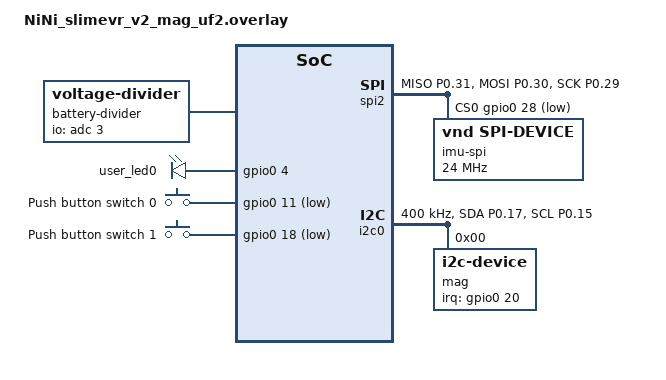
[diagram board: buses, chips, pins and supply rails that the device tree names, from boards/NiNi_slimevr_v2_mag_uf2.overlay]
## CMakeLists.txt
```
#
# Copyright (c) 2023 Nordic Semiconductor
#
# SPDX-License-Identifier: LicenseRef-Nordic-5-Clause
#
cmake_minimum_required(VERSION 3.20.0)

# Configure VERSION from repository tags, or a deterministic development fallback.
find_package(Git)

if(GIT_EXECUTABLE)
  execute_process(
    COMMAND ${GIT_EXECUTABLE} branch --show-current
    WORKING_DIRECTORY ${CMAKE_SOURCE_DIR}
    OUTPUT_VARIABLE GIT_BRANCH
    )
  execute_process(
    COMMAND ${GIT_EXECUTABLE} describe --dirty --tags --long --match [0-9]*.[0-9]*.[0-9]*
    WORKING_DIRECTORY ${CMAKE_SOURCE_DIR}
    OUTPUT_VARIABLE GIT_VERSION
    RESULT_VARIABLE GIT_VERSION_RESULT
    OUTPUT_STRIP_TRAILING_WHITESPACE
    ERROR_QUIET
    )
  # Prefer a https URL for display (falls back to ssh/origin.url)
  execute_process(
    COMMAND ${GIT_EXECUTABLE} config --get remote.origin.url
    WORKING_DIRECTORY ${CMAKE_SOURCE_DIR}
    OUTPUT_VARIABLE GIT_REPO_URL_SSH
    )
  execute_process(
    COMMAND ${GIT_EXECUTABLE} config --get remote.origin.https.url
    WORKING_DIRECTORY ${CMAKE_SOURCE_DIR}
    OUTPUT_VARIABLE GIT_REPO_URL_HTTPS
    )
  execute_process(
    COMMAND ${GIT_EXECUTABLE} log -1 --pretty=%an
    WORKING_DIRECTORY ${CMAKE_SOURCE_DIR}
    OUTPUT_VARIABLE GIT_AUTHOR
    )
endif()

if(GIT_BRANCH STREQUAL "")
  set(GIT_BRANCH unknown)
  message(WARNING "Unknown Git Branch")
endif()

# Choose URL: origin.https.url > origin.url
if(NOT GIT_REPO_URL_HTTPS STREQUAL "")
  set(GIT_REPO_URL ${GIT_REPO_URL_HTTPS})
else()
  set(GIT_REPO_URL ${GIT_REPO_URL_SSH})
endif()

# Normalize GitHub SSH URLs to HTTPS for display in firmware info
if(GIT_REPO_URL MATCHES "^git@github\\.com:(.+)$")
  set(GIT_REPO_URL "https://github.com/${CMAKE_MATCH_1}")
elseif(GIT_REPO_URL MATCHES "^ssh://git@github\\.com/(.+)$")
  set(GIT_REPO_URL "https://github.com/${CMAKE_MATCH_1}")
endif()
string(REGEX REPLACE "\\.git$" "" GIT_REPO_URL "${GIT_REPO_URL}")

if(GIT_REPO_URL STREQUAL "")
  set(GIT_REPO_URL unknown)
  message(WARNING "Unknown Git Repo URL")
endif()

if(GIT_AUTHOR STREQUAL "")
  set(GIT_AUTHOR unknown)
  message(WARNING "Unknown Git Author")
endif()

string(STRIP ${GIT_BRANCH} GIT_BRANCH)
string(STRIP ${GIT_REPO_URL} GIT_REPO_URL)
string(STRIP ${GIT_AUTHOR} GIT_AUTHOR)

if(GIT_VERSION_RESULT STREQUAL "0" AND
   GIT_VERSION MATCHES "^([0-9]+)\\.([0-9]+)\\.([0-9]+)-([0-9]+)-g[0-9a-f]+(-dirty)?$")
  set(GIT_MAJOR ${CMAKE_MATCH_1})
  set(GIT_MINOR ${CMAKE_MATCH_2})
  set(GIT_PATCH ${CMAKE_MATCH_3})
  set(GIT_TWEAK ${CMAKE_MATCH_4})
  configure_file(${CMAKE_SOURCE_DIR}/VERSION_SRC ${CMAKE_SOURCE_DIR}/VERSION @ONLY)
else()
  # VERSION is generated; never reuse stale release numbers from another branch.
  # Zephyr supplies commit provenance separately through APP_BUILD_VERSION.
  set(GIT_MAJOR 0)
  set(GIT_MINOR 0)
  set(GIT_PATCH 0)
  set(GIT_TWEAK 0)
  configure_file(${CMAKE_SOURCE_DIR}/VERSION_SRC ${CMAKE_SOURCE_DIR}/VERSION @ONLY)
  message(STATUS "No Git release version available; using development version 0.0.0")
endif()

# Pass metadata to C compilation units
add_compile_definitions(
  FW_GIT_BRANCH="${GIT_BRANCH}"
  FW_GIT_REPO_URL="${GIT_REPO_URL}"
  FW_GIT_AUTHOR="${GIT_AUTHOR}"
)

# Zephyr
find_package(Zephyr REQUIRED HINTS $ENV{ZEPHYR_BASE})
project(NONE)

find_package(Python3 QUIET COMPONENTS Interpreter)

if(NOT Python3_Interpreter_FOUND)
  find_program(PYTHON_EXECUTABLE NAMES python3 python REQUIRED)
  set(Python3_EXECUTABLE ${PYTHON_EXECUTABLE})
endif()

set(SOFTDEVICE_HEX_52840 ${CMAKE_SOURCE_DIR}/softdevice/s140_nrf52_7.3.0_softdevice.hex)
set(UF2_FAMILY_ID_52840 0xADA52840)

if(WITH_SOFTDEVICE)
  if(CONFIG_SOC_NRF52840)
    set(sd_softdevice_hex ${SOFTDEVICE_HEX_52840})
    set(sd_uf2_family_id ${UF2_FAMILY_ID_52840})
  else()
    message(FATAL_ERROR "WITH_SOFTDEVICE is currently only supported on nRF52840 targets")
  endif()

  if(DEFINED sd_softdevice_hex)
    if(NOT EXISTS ${sd_softdevice_hex})
      message(FATAL_ERROR "SoftDevice hex not found: ${sd_softdevice_hex}")
    endif()

    set(sd_merged_hex ${CMAKE_BINARY_DIR}/zephyr/zephyr_sd.hex)
    set(sd_merged_uf2 ${CMAKE_BINARY_DIR}/zephyr/zephyr_sd.uf2)

    add_custom_command(
      OUTPUT ${sd_merged_hex} ${sd_merged_uf2}
      COMMAND ${Python3_EXECUTABLE} ${ZEPHYR_BASE}/scripts/build/mergehex.py --overlap=replace -o ${sd_merged_hex} ${sd_softdevice_hex} ${CMAKE_BINARY_DIR}/zephyr/zephyr.hex
      COMMAND ${Python3_EXECUTABLE} ${ZEPHYR_BASE}/scripts/build/uf2conv.py ${sd_merged_hex} -c -f ${sd_uf2_family_id} -o ${sd_merged_uf2}
      DEPENDS ${sd_softdevice_hex} ${CMAKE_BINARY_DIR}/zephyr/zephyr.hex
      VERBATIM
    )

    add_custom_target(sd_merged_uf2 ALL DEPENDS ${sd_merged_hex} ${sd_merged_uf2})
  endif()
endif()

# NORDIC SDK APP START
FILE(GLOB_RECURSE app_sources src/*.c)
if(NOT CONFIG_CONNECTION_OVER_HID)
  list(FILTER app_sources EXCLUDE REGEX ".*/hid\\.c$")
endif()
if(NOT CONFIG_TDMA_DIAGNOSTICS)
  list(FILTER app_sources EXCLUDE REGEX ".*/radio_capture\\.c$")
endif()
if(NOT CONFIG_LED_DEBUG)
  list(FILTER app_sources EXCLUDE REGEX ".*/led_debug\\.c$")
endif()
if(NOT CONFIG_CUSTOMER_INFO OR NOT CONFIG_SOC_SERIES_NRF52)
  list(FILTER app_sources EXCLUDE REGEX ".*/customer_info(_parser)?\\.c$")
endif()
if(NOT CONFIG_CONNECTION_RAW_COLLECTION)
  list(FILTER app_sources EXCLUDE REGEX ".*/sensor/raw_collection\\.c$")
endif()
if(NOT CONFIG_SENSOR_USE_MAGNETOMETER)
  list(FILTER app_sources EXCLUDE REGEX ".*/sensor/scan_ext\\.c$")
  list(FILTER app_sources EXCLUDE REGEX ".*/sensor/calibration/(online_mag|mag_fit|magneto)\\.c$")
endif()
list(FILTER app_sources EXCLUDE REGEX ".*/sensor/imu/.*\\.c$")
list(FILTER app_sources EXCLUDE REGEX ".*/sensor/mag/.*\\.c$")
target_sources(app PRIVATE ${app_sources})

# IMU drivers
if(CONFIG_SENSOR_DRV_ICM42688)
  target_sources(app PRIVATE src/sensor/imu/ICM42688.c)
endif()
if(CONFIG_SENSOR_DRV_ICM42686)
  target_sources(app PRIVATE src/sensor/imu/ICM42686.c)
endif()
if(CONFIG_SENSOR_DRV_ICM45686)
  target_sources(app PRIVATE src/sensor/imu/ICM45686.c)
endif()
if(CONFIG_SENSOR_DRV_LSM6DSM)
  target_sources(app PRIVATE src/sensor/imu/LSM6DSM.c)
endif()
if(CONFIG_SENSOR_DRV_LSM6DSO)
  target_sources(app PRIVATE src/sensor/imu/LSM6DSO.c)
endif()
# LSM6DSM/DSO vtables call shared helpers defined in LSM6DSV.c (lsm_shutdown,
# lsm_accel_read, …). Compile that TU whenever any LSM6 family DRV is on, even
# if SENSOR_DRV_LSM6DSV=n — keep the Kconfig off so scan/vtable stay trimmed and
# SENSOR_IMU_DRV_COUNT is not inflated.
if(CONFIG_SENSOR_DRV_LSM6DSV OR CONFIG_SENSOR_DRV_LSM6DSM OR CONFIG_SENSOR_DRV_LSM6DSO)
  target_sources(app PRIVATE src/sensor/imu/LSM6DSV.c)
endif()

# Magnetometer drivers
if(CONFIG_SENSOR_USE_MAGNETOMETER)
if(CONFIG_SENSOR_DRV_AK09940)
  target_sources(app PRIVATE src/sensor/mag/AK09940.c)
endif()
if(CONFIG_SENSOR_DRV_BMM150)
  target_sources(app PRIVATE src/sensor/mag/BMM150.c)
endif()
if(CONFIG_SENSOR_DRV_BMM350)
  target_sources(app PRIVATE src/sensor/mag/BMM350.c)
endif()
if(CONFIG_SENSOR_DRV_ICT153XX)
  target_sources(app PRIVATE src/sensor/mag/ICT153xx.c)
endif()
if(CONFIG_SENSOR_DRV_IST8306 OR CONFIG_SENSOR_DRV_IST8308)
  target_sources(app PRIVATE src/sensor/mag/ist83xx.c)
endif()
if(CONFIG_SENSOR_DRV_IST8306)
  target_sources(app PRIVATE src/sensor/mag/IST8306.c)
endif()
if(CONFIG_SENSOR_DRV_IST8308)
  target_sources(app PRIVATE src/sensor/mag/IST8308.c)
endif()
if(CONFIG_SENSOR_DRV_LIS2MDL)
  target_sources(app PRIVATE src/sensor/mag/LIS2MDL.c)
endif()
if(CONFIG_SENSOR_DRV_LIS3MDL)
  target_sources(app PRIVATE src/sensor/mag/LIS3MDL.c)
endif()
if(CONFIG_SENSOR_DRV_MMC5603NJ)
  target_sources(app PRIVATE src/sensor/mag/MMC5603NJ.c)
endif()
if(CONFIG_SENSOR_DRV_MMC5983MA)
  target_sources(app PRIVATE src/sensor/mag/MMC5983MA.c)
endif()
if(CONFIG_SENSOR_DRV_QMC5883L)
  target_sources(app PRIVATE src/sensor/mag/QMC5883L.c)
endif()
if(CONFIG_SENSOR_DRV_QMC5883P)
  target_sources(app PRIVATE src/sensor/mag/QMC5883P.c)
endif()
if(CONFIG_SENSOR_DRV_QMC6309)
  target_sources(app PRIVATE src/sensor/mag/QMC6309.c)
endif()
endif()

set(_slimenrf_imu_drv_count 0)
foreach(_d ICM42688 ICM42686 ICM45686 LSM6DSM LSM6DSO LSM6DSV)
  if(CONFIG_SENSOR_DRV_${_d})
    math(EXPR _slimenrf_imu_drv_count "${_slimenrf_imu_drv_count}+1")
  endif()
endforeach()
if(_slimenrf_imu_drv_count EQUAL 0)
  message(FATAL_ERROR "No IMU SENSOR_DRV_* enabled. Enable at least one, or turn off SENSOR_IMU_DRIVERS_MINIMAL.")
endif()
# NORDIC SDK APP END

FILE(GLOB_RECURSE files vqf-c/src/*.c)
target_sources(app PRIVATE ${files})
set_property(
  SOURCE ${CMAKE_CURRENT_SOURCE_DIR}/vqf-c/src/vqf.c
  APPEND PROPERTY COMPILE_OPTIONS
  -Wno-double-promotion
)
if(CONFIG_SENSOR_VQF_ADAPTIVE_BIAS)
  target_compile_definitions(app PRIVATE VQF_ADAPTIVE_BIAS)
endif()
if(CONFIG_SENSOR_VQF_REST_TRANSITION)
  target_compile_definitions(app PRIVATE VQF_REST_TRANSITION)
endif()
if(CONFIG_SENSOR_VQF_FAST_REST_RECOVERY)
  target_compile_definitions(app PRIVATE VQF_FAST_REST_RECOVERY)
endif()
if(CONFIG_SENSOR_VQF_CYCLE_BIAS_OBSERVATION)
  target_compile_definitions(app PRIVATE VQF_CYCLE_BIAS_OBSERVATION)
endif()
if(CONFIG_SENSOR_VQF_OUTPUT_OBSERVER)
  target_compile_definitions(app PRIVATE VQF_OUTPUT_OBSERVER VQF_OUTPUT_TAU_ACC=3.264f)
endif()

target_include_directories(app PRIVATE src)
target_include_directories(app PRIVATE vqf-c/src)

# Force recompile for updated build timestamp
add_custom_target(touch_util_h ALL
    COMMAND ${CMAKE_COMMAND} -E touch ${CMAKE_SOURCE_DIR}/src/build_defines.h
)
```

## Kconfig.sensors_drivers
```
config SENSOR_IMU_DRIVERS_MINIMAL
	bool "Compile only selected IMU drivers"
	default n
	help
	  When disabled (default), every SENSOR_DRV_* IMU option defaults to y.
	  When enabled, each IMU SENSOR_DRV_* defaults to n; enable the BOM
	  drivers in the board *_defconfig.

config SENSOR_MAG_DRIVERS_MINIMAL
	bool "Compile only selected magnetometer drivers"
	default n
	help
	  Same as SENSOR_IMU_DRIVERS_MINIMAL but for magnetometer drivers.
	  Mag may be entirely disabled (mag-less boards).

menu "IMU drivers"

config SENSOR_DRV_ICM42688
	bool "ICM42688"
	default y if !SENSOR_IMU_DRIVERS_MINIMAL
	default n

config SENSOR_DRV_ICM42686
	bool "ICM42686"
	default y if !SENSOR_IMU_DRIVERS_MINIMAL
	default n

config SENSOR_DRV_ICM45686
	bool "ICM45686 / ICM45688"
	default y if !SENSOR_IMU_DRIVERS_MINIMAL
	default n

config SENSOR_DRV_LSM6DSM
	bool "LSM6DSM family (DS3 / DSM)"
	default y if !SENSOR_IMU_DRIVERS_MINIMAL
	default n
	help
	  Shares helpers compiled from LSM6DSV.c (CMake pulls that TU in
	  automatically). Enabling this alone does not enable SENSOR_DRV_LSM6DSV
	  scan/vtable slots.

config SENSOR_DRV_LSM6DSO
	bool "LSM6DSO family (DSR / DSO)"
	default y if !SENSOR_IMU_DRIVERS_MINIMAL
	default n
	help
	  Shares helpers compiled from LSM6DSV.c (CMake pulls that TU in
	  automatically). Enabling this alone does not enable SENSOR_DRV_LSM6DSV
	  scan/vtable slots.

config SENSOR_DRV_LSM6DSV
	bool "LSM6DSV family (DSV / ISM330BX)"
	default y if !SENSOR_IMU_DRIVERS_MINIMAL
	default n
	help
	  Also provides shared LSM6 helpers used by LSM6DSM / LSM6DSO drivers.

endmenu

menu "Magnetometer drivers"

config SENSOR_DRV_AK09940
	bool "AK09940"
	default y if !SENSOR_MAG_DRIVERS_MINIMAL
	default n

config SENSOR_DRV_BMM150
	bool "BMM150"
	default y if !SENSOR_MAG_DRIVERS_MINIMAL
	default n

config SENSOR_DRV_BMM350
	bool "BMM350"
	default y if !SENSOR_MAG_DRIVERS_MINIMAL
	default n

config SENSOR_DRV_ICT153XX
	bool "ICT-15312 / ICT-15318"
	default y if !SENSOR_MAG_DRIVERS_MINIMAL
	default n
	help
	  I2C magnetometers, including access through an IMU external I2C proxy.
	  Both require VDD 1.62–1.98 V; ICT-15312 uses 1.2 V bus logic and
	  ICT-15318 uses 1.8 V bus logic.

config SENSOR_DRV_IST8306
	bool "IST8306"
	default y if !SENSOR_MAG_DRIVERS_MINIMAL
	default n

config SENSOR_DRV_IST8308
	bool "IST8308"
	default y if !SENSOR_MAG_DRIVERS_MINIMAL
	default n

config SENSOR_DRV_LIS2MDL
	bool "LIS2MDL / IIS2MDC"
	default y if !SENSOR_MAG_DRIVERS_MINIMAL
	default n

config SENSOR_DRV_LIS3MDL
	bool "LIS3MDL"
	default y if !SENSOR_MAG_DRIVERS_MINIMAL
	default n

config SENSOR_DRV_MMC5603NJ
	bool "MMC5603NJ"
	default y if !SENSOR_MAG_DRIVERS_MINIMAL
	default n

config SENSOR_DRV_MMC5983MA
	bool "MMC5983MA"
	default y if !SENSOR_MAG_DRIVERS_MINIMAL
	default n

config SENSOR_DRV_QMC5883L
	bool "QMC5883L"
	default y if !SENSOR_MAG_DRIVERS_MINIMAL
	default n

config SENSOR_DRV_QMC5883P
	bool "QMC5883P"
	default y if !SENSOR_MAG_DRIVERS_MINIMAL
	default n
	help
	  QMC5883P (QST-PD-B002-22 Rev E): automotive-grade line, new-style QST
	  register interface (akin to QMC6309, NOT register-compatible with
	  QMC5883L). I2C 0x2C, CHIPID 0x80 @ 0x00, 2/8/12/30G ranges, no temp.

config SENSOR_DRV_QMC6309
	bool "QMC6309"
	default y if !SENSOR_MAG_DRIVERS_MINIMAL
	default n

endmenu
```

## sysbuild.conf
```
SB_CONFIG_BOOTLOADER_MCUBOOT=y

# ============================================================
# MCUboot UART DFU Configuration
# ============================================================
# Using UART DFU instead of USB to avoid USB device stack dependencies
# This file is for NCS 2.7.0+ sysbuild system

# ============================================================
# Basic kernel configuration for MCUboot
# ============================================================
CONFIG_MULTITHREADING=y
CONFIG_USERSPACE=n

# Serial/UART support (required for UART DFU)
# Note: CONFIG_UART doesn't exist, use CONFIG_SERIAL instead
# SERIAL_HAS_DRIVER and SERIAL_SUPPORT_INTERRUPT are internal symbols, don't set them
CONFIG_SERIAL=y
CONFIG_UART_INTERRUPT_DRIVEN=y

# Logging support for debugging (using RTT instead of UART)
# This helps diagnose why MCUboot is not booting the application
CONFIG_LOG=y
CONFIG_LOG_MODE_IMMEDIATE=y
CONFIG_USE_SEGGER_RTT=y
CONFIG_LOG_BACKEND_RTT=y
CONFIG_UART_CONSOLE=n

# Console support (disabled - using RTT for logging instead)
# CONFIG_CONSOLE=y

# MCUboot serial recovery over UART
# BOOT_SERIAL_UART is a choice symbol, let MCUboot handle it
# Just ensure serial recovery is enabled

# ============================================================
# Library configuration
# ============================================================
CONFIG_MINIMAL_LIBC=y

# Main thread and heap configuration
CONFIG_MAIN_STACK_SIZE=1536
CONFIG_HEAP_MEM_POOL_SIZE=512
CONFIG_ISR_STACK_SIZE=1536

# ============================================================
# USB Configuration - DISABLED in MCUboot
# ============================================================
# CRITICAL: Disable USB device stack to avoid linker errors
# Use explicit "is not set" syntax for maximum priority
# CONFIG_USB_DEVICE_STACK is not set
# CONFIG_USB_CDC_ACM is not set
# CONFIG_USB_MASS_STORAGE is not set
# CONFIG_USB_DEVICE_DRIVER is not set
# CONFIG_BOOT_SERIAL_CDC_ACM is not set

# MCUboot configuration file should be automatically found at child_image/mcuboot/prj.conf
# If not automatically found, sysbuild may need to be configured differently
# The variable name MCUBOOT_CONFIG_FILE is not valid - removing explicit path

# MCUboot DTS overlay should be automatically found in boards/sysbuild/mcuboot.overlay
# If needed, uncomment and adjust path:
# SB_CONFIG_MCUBOOT_DTS_OVERLAY_FILE="boards/sysbuild/mcuboot.overlay"
```

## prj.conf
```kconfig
#CONFIG_NCS_SAMPLES_DEFAULTS
CONFIG_ASSERT=y
CONFIG_ASSERT_NO_COND_INFO=y
CONFIG_ASSERT_NO_MSG_INFO=y
CONFIG_RESET_ON_FATAL_ERROR=y

CONFIG_NCS_APPLICATION_BOOT_BANNER_STRING="SlimeVR-Tracker-nRF"
#CONFIG_NCS_BOOT_BANNER=n
CONFIG_BOOT_BANNER=n

CONFIG_LTO=y
CONFIG_ISR_TABLES_LOCAL_DECLARATION=y

CONFIG_ESB=y
#need to enable for nRF54L
#CONFIG_NRFX_DPPI10=y

CONFIG_ADC=y
CONFIG_ADC_NRFX_SAADC=y
CONFIG_FPU=y

# CMSIS-DSP Configuration for VQF optimization
CONFIG_CMSIS_DSP=y
CONFIG_CMSIS_DSP_FASTMATH=y
CONFIG_CMSIS_DSP_BASICMATH=y
CONFIG_CMSIS_DSP_MATRIX=y
CONFIG_CMSIS_DSP_QUATERNIONMATH=y
CONFIG_CMSIS_DSP_SUPPORT=y
CONFIG_CMSIS_DSP_CONTROLLER=y
CONFIG_DSP=y

CONFIG_I2C=y
CONFIG_SPI=y
CONFIG_PINCTRL=y

CONFIG_NVS=y
CONFIG_NVS_LOOKUP_CACHE=y
#CONFIG_NVS_INIT_BAD_MEMORY_REGION=y

CONFIG_POWEROFF=y
CONFIG_REBOOT=y

CONFIG_FLASH=y
CONFIG_FLASH_PAGE_LAYOUT=y
CONFIG_FLASH_MAP=y
CONFIG_USE_DT_CODE_PARTITION=y

CONFIG_SETTINGS=y
CONFIG_SETTINGS_RUNTIME=y
CONFIG_SETTINGS_NONE=y

CONFIG_MPU_ALLOW_FLASH_WRITE=y

CONFIG_RETAINED_MEM=y

# ============================================================
# RTT Logging Configuration (for debugging early boot crashes)
# ============================================================
# Use IMMEDIATE mode to capture logs before early fatal/reboot
CONFIG_USE_SEGGER_RTT=y
CONFIG_LOG=y
CONFIG_LOG_MODE_IMMEDIATE=y
CONFIG_LOG_BACKEND_RTT=y
CONFIG_PRINTK=y

# Console configuration - RTT_CONSOLE is a choice symbol, enable via console subsystem
CONFIG_CONSOLE=y
CONFIG_CONSOLE_SUBSYS=y
# RTT will be automatically selected as console backend when CONFIG_USE_SEGGER_RTT=y

# Disable UART console (use RTT instead)
CONFIG_UART_CONSOLE=n
CONFIG_LOG_BACKEND_UART_AUTOSTART=n

# Log processing thread configuration (not needed in IMMEDIATE mode, but keep for compatibility)
CONFIG_LOG_SPEED=y
CONFIG_CBPRINTF_FP_SUPPORT=y
CONFIG_LOG_FUNC_NAME_PREFIX_ERR=y
CONFIG_LOG_BUFFER_SIZE=4096
CONFIG_ADC_LOG_LEVEL_OFF=y
CONFIG_LOG_PROCESS_THREAD_SLEEP_MS=50
CONFIG_LOG_PROCESS_THREAD_STACK_SIZE=1024

CONFIG_PWM=y
CONFIG_GPIO=y

CONFIG_CRC=y

# Sensor lifecycle waits (suspend / scan) use k_event instead of busy spins
CONFIG_EVENTS=y

CONFIG_NEWLIB_LIBC=y
# CONFIG_NRFX_TIMER1=y

#speed up boot? (use internal rc oscillator)
CONFIG_CLOCK_CONTROL_NRF_K32SRC_RC=y
CONFIG_CLOCK_CONTROL_NRF_K32SRC_20PPM=y

# dont need it
CONFIG_CRYPTO=n

# set timeout for 25ms, sufficient for ~1000 bytes
CONFIG_I2C_NRFX_TRANSFER_TIMEOUT=25

CONFIG_USB_DEVICE_STACK_NEXT=y
CONFIG_USBD_CDC_ACM_CLASS=y
CONFIG_CDC_ACM_SERIAL_INITIALIZE_AT_BOOT=n
CONFIG_SLIMEVR_USB_DEVICE_VID=0x1209
CONFIG_SLIMEVR_USB_DEVICE_PID=0x7692
CONFIG_UART_INTERRUPT_DRIVEN=y

CONFIG_SERIAL=y
CONFIG_CONSOLE=y
CONFIG_RTT_CONSOLE=y
CONFIG_UART_CONSOLE=y
CONFIG_UART_LINE_CTRL=y

CONFIG_LOG=y
CONFIG_USBD_LOG_LEVEL_ERR=y
CONFIG_UDC_DRIVER_LOG_LEVEL_ERR=y
CONFIG_USBD_CDC_ACM_LOG_LEVEL_OFF=y

CONFIG_LOG_BACKEND_UART=y

CONFIG_CONSOLE_SUBSYS=y

CONFIG_NVS_LOG_LEVEL_WRN=y

CONFIG_SYSTEM_WORKQUEUE_STACK_SIZE=1024
CONFIG_MAIN_STACK_SIZE=2048

CONFIG_THREAD_NAME=y

CONFIG_HEAP_MEM_POOL_SIZE=4096
CONFIG_ISR_STACK_SIZE=2048
CONFIG_UDC_BUF_POOL_SIZE=4096

CONFIG_PM_DEVICE=y


CONFIG_USE_ACTIVE_TIMEOUT=y

# 100ms switch delay will be obvious to users, so we choose not to use it by default,
# but it can be enabled for testing or specific use cases
CONFIG_SENSOR_USE_LOW_POWER_2=n

# control low power mode
# due to current mag reading is process in sensor loop,
# low power mode will cause mag reading isn't at target odr,
# so currently it should be disabled by default
CONFIG_USE_IMU_TIMEOUT=n
# a very large low power timeout (1h) to prevent it from triggering
CONFIG_SENSOR_LP_TIMEOUT=3600000

# 10 minutes timeout with wake on motion
CONFIG_ACTIVE_TIMEOUT_DELAY=600000

# dynamic low-activity sleep timeout is 90 seconds, repeat wake timeout is 90 seconds by default
CONFIG_ACTIVE_TIMEOUT_IDLE_WAKE_DELAY=90000
CONFIG_DYNAMIC_ACTIVE_TIMEOUT=y
CONFIG_USE_IMU_WAKE_UP=y

# or 6 hours timeout
# CONFIG_USE_IMU_WAKE_UP=n
# CONFIG_ACTIVE_TIMEOUT_DELAY=21600000

CONFIG_USER_EXTRA_ACTIONS=y
CONFIG_DISABLE_SENSOR_GPIOS_ON_SHUTDOWN=y

CONFIG_ESB_MAX_PAYLOAD_LENGTH=72
CONFIG_ESB_TX_FIFO_SIZE=8
CONFIG_ESB_RX_FIFO_SIZE=8
CONFIG_RADIO_RF_CHANNEL=84
CONFIG_RADIO_RETRANSMIT_DELAY=310
CONFIG_CONNECTION_ENABLE_ACK=n
CONFIG_RADIO_TX_POWER=8
# 1 minutes timeout after ping continuous failed
CONFIG_CONNECTION_TIMEOUT_DELAY=60000

CONFIG_SENSOR_USE_6_SIDE_CALIBRATION=y
CONFIG_SENSOR_USE_SENS_CALIBRATION=y
CONFIG_SENSOR_SENS_REV=5

CONFIG_SENSOR_USE_TCAL=y

# Boot calibration is disabled by default
# CONFIG_SENSOR_USE_BOOT_CALIBRATION=y

# Range statistics tracking (disabled by default to optimize performance)
# CONFIG_SENSOR_RANGE_STATS=y

# Gyro/accel ODR. Gyro OVERSAMPLING = Δq INT_merge factor.
# Example: GYRO_ODR=1600 + GYRO_OVERSAMPLING=4 → 400 Hz fusion gyro steps.
# icm45 ~1600, dsv ~1920
CONFIG_SENSOR_GYRO_ODR=400
# fusion rate at ~400Hz
CONFIG_SENSOR_GYRO_OVERSAMPLING=1
CONFIG_SENSOR_MAG_ODR=100

# VQF experimental features
# CONFIG_VQF_ADAPTIVE_TAU_ACC=y

# Watchdog Configuration
CONFIG_WATCHDOG=y
CONFIG_WDT_NRFX=y
CONFIG_TASK_WDT=y
CONFIG_TASK_WDT_CHANNELS=9
CONFIG_TASK_WDT_HW_FALLBACK=y
CONFIG_TASK_WDT_HW_FALLBACK_DELAY=5000

# enable tdma on board which don't have lfxo, it can use lf clock synthesized by hf clock,
# but it will increase a lot of power consumption, so if you want to use it, you can enable below config,
# or define it in board level Kconfig file.

# CONFIG_CLOCK_USE_LFXO=n
CONFIG_CONNECTION_TDMA=y

# Enable VQF benchmark mode for performance testing (disabled by default)
# CONFIG_VQF_BENCH=y
```

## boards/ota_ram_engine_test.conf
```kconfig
CONFIG_ESB_OTA_FORCE_RAM_ENGINE=y
```

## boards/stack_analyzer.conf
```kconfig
# On-demand stack high-water diagnostics
CONFIG_THREAD_ANALYZER=y
CONFIG_THREAD_ANALYZER_USE_PRINTK=y
CONFIG_THREAD_ANALYZER_RUN_UNLOCKED=y
CONFIG_THREAD_ANALYZER_ISR_STACK_USAGE=y
CONFIG_THREAD_ANALYZER_AUTO=n
CONFIG_INIT_STACKS=y
```

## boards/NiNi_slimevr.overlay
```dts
#include <zephyr/dt-bindings/gpio/gpio.h>
#include <zephyr/dt-bindings/pinctrl/nrf-pinctrl.h>

/ {
	battery-divider {
		compatible = "voltage-divider";
		status = "okay";
		io-channels = <&adc 3>;
		output-ohms = <40200>;
		full-ohms = <140200>;
	};

	leds {
		compatible = "gpio-leds";
		user_led0: led_0 {
			gpios = <&gpio0 4 GPIO_ACTIVE_HIGH>;
		};
	};

	buttons {
		compatible = "gpio-keys";
		button0: button_0 {
			gpios = <&gpio0 11 (GPIO_PULL_UP | GPIO_ACTIVE_LOW)>;
			label = "Push button switch 0";
		};
	};

		
	

	aliases {
		sw0 = &button0;
		led0 = &user_led0;
		imu0 = &imu_spi;
	};
};

&pinctrl {
	spi3_default: spi3_default {
		group1 {
			psels = <NRF_PSEL(SPIM_MISO, 0, 29)>,
				<NRF_PSEL(SPIM_MOSI, 0, 28)>,
				<NRF_PSEL(SPIM_SCK,  0, 2)>;
			bias-disable;
		};
	};

	spi3_sleep: spi3_sleep {
		group1 {
			psels = <NRF_PSEL(SPIM_MISO, 0, 29)>,
				<NRF_PSEL(SPIM_MOSI, 0, 28)>,
				<NRF_PSEL(SPIM_SCK,  0, 2)>;
			low-power-enable;
		};
	};
};

&spi3 {
	status = "okay";
	compatible = "nordic,nrf-spim";
	pinctrl-0 = <&spi3_default>;
	pinctrl-1 = <&spi3_sleep>;
	pinctrl-names = "default", "sleep";

	cs-gpios = <&gpio0 3 GPIO_ACTIVE_LOW>;

	imu_spi: imu@0 {
		compatible = "vnd,spi-device";
		reg = <0>;
		label = "imu-spi";
		spi-max-frequency = <DT_FREQ_M(24)>;
	};
};
&flash0 {
  partitions {
    compatible = "fixed-partitions";
    #address-cells = <1>;
    #size-cells = <1>;

    mcuboot_partition: partition@0 {
      label = "mcuboot";
      reg = <0x00000000 0x00010000>;
    };

    slot0_partition: partition@10000 {
      label = "image-0";
      reg = <0x00010000 0x00070000>;
    };
  };
};

/ {
  chosen {
    zephyr,flash = &flash0;
    zephyr,code-partition = &slot0_partition;
  };
};
```

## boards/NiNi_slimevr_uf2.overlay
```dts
/ {
	battery-divider {
		compatible = "voltage-divider";
		status = "okay";
		io-channels = <&adc 3>;
		output-ohms = <40200>;
		full-ohms = <(100000 + 40200)>;
	};

	leds {
		compatible = "gpio-leds";
		user_led0: led_0 {
			gpios = <&gpio0 4 GPIO_OPEN_SOURCE>;
		};
	};

	buttons {
		compatible = "gpio-keys";
		button0: button_0 {
			gpios = <&gpio0 11 (GPIO_PULL_UP | GPIO_ACTIVE_LOW)>;
			label = "Push button switch 0";
		};
		button1: button_1 {
			gpios = <&gpio0 18 (GPIO_PULL_UP | GPIO_ACTIVE_LOW)>;
			label = "Push button switch 1";
		};
	};

	aliases {
		sw0 = &button0;
		sw1 = &button1;
		led0 = &user_led0;
		imu0 = &imu_spi;
	};
};

&pinctrl {
	spi2_default: spi2_default {
		group1 {
			psels = <NRF_PSEL(SPIM_MISO, 0, 29)>,
				<NRF_PSEL(SPIM_MOSI, 0, 28)>,
				<NRF_PSEL(SPIM_SCK,  0, 2)>;
			bias-disable;
		};
	};

	spi2_sleep: spi2_sleep {
		group1 {
			psels = <NRF_PSEL(SPIM_MISO, 0, 29)>,
				<NRF_PSEL(SPIM_MOSI, 0, 28)>,
				<NRF_PSEL(SPIM_SCK,  0, 2)>;
			low-power-enable;
		};
	};
};

&spi2 {
	status = "okay";
	compatible = "nordic,nrf-spim";
	pinctrl-0 = <&spi2_default>;
	pinctrl-1 = <&spi2_sleep>;
	pinctrl-names = "default", "sleep";

	cs-gpios = <&gpio0 3 GPIO_ACTIVE_LOW>;

	imu_spi: imu@0 {
		compatible = "vnd,spi-device";
		reg = <0>;
		label = "imu-spi";
		spi-max-frequency = <DT_FREQ_M(24)>;
	};
};
```

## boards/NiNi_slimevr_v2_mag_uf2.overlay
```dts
/ {
	battery-divider {
		compatible = "voltage-divider";
		status = "okay";
		io-channels = <&adc 3>;
		output-ohms = <40200>;
		full-ohms = <(100000 + 40200)>;
	};

	leds {
		compatible = "gpio-leds";
		user_led0: led_0 {
			gpios = <&gpio0 4 GPIO_OPEN_SOURCE>;
		};
	};

	buttons {
		compatible = "gpio-keys";
		button0: button_0 {
			gpios = <&gpio0 11 (GPIO_PULL_UP | GPIO_ACTIVE_LOW)>;
			label = "Push button switch 0";
		};
		button1: button_1 {
			gpios = <&gpio0 18 (GPIO_PULL_UP | GPIO_ACTIVE_LOW)>;
			label = "Push button switch 1";
		};
	};

	aliases {
		sw0 = &button0;
		sw1 = &button1;
		led0 = &user_led0;
		imu0 = &imu_spi;
	};
};

&pinctrl {
	spi2_default: spi2_default {
		group1 {
			psels = <NRF_PSEL(SPIM_MISO, 0, 31)>,
				<NRF_PSEL(SPIM_MOSI, 0, 30)>,
				<NRF_PSEL(SPIM_SCK,  0, 29)>;
			bias-disable;
		};
	};

	spi2_sleep: spi2_sleep {
		group1 {
			psels = <NRF_PSEL(SPIM_MISO, 0, 31)>,
				<NRF_PSEL(SPIM_MOSI, 0, 30)>,
				<NRF_PSEL(SPIM_SCK,  0, 29)>;
			low-power-enable;
		};
	};

	i2c0_default: i2c0_default {
		group1 {
			psels = <NRF_PSEL(TWIM_SDA, 0, 17)>,
				<NRF_PSEL(TWIM_SCL, 0, 15)>;
			bias-disable;
		};
	};

	i2c0_sleep: i2c0_sleep {
		group1 {
			psels = <NRF_PSEL(TWIM_SDA, 0, 17)>,
				<NRF_PSEL(TWIM_SCL, 0, 15)>;
			low-power-enable;
		};
	};
};

&spi2 {
	status = "okay";
	compatible = "nordic,nrf-spim";
	pinctrl-0 = <&spi2_default>;
	pinctrl-1 = <&spi2_sleep>;
	pinctrl-names = "default", "sleep";

	cs-gpios = <&gpio0 28 GPIO_ACTIVE_LOW>;

	imu_spi: imu@0 {
		compatible = "vnd,spi-device";
		reg = <0>;
		label = "imu-spi";
		spi-max-frequency = <DT_FREQ_M(24)>;
	};
};

&i2c0 {
	compatible = "nordic,nrf-twim";
	status = "okay";
	zephyr,concat-buf-size = <1023>;
	zephyr,flash-buf-max-size = <1023>;
	clock-frequency = <I2C_BITRATE_FAST>;
	pinctrl-0 = <&i2c0_default>;
	pinctrl-1 = <&i2c0_sleep>;
	pinctrl-names = "default", "sleep";

	mag: mag@0 {
		compatible = "i2c-device";
		label = "mag";
		reg = <0>;
		irq-gpios = <&gpio0 20 GPIO_ACTIVE_HIGH>;
	};
};
```

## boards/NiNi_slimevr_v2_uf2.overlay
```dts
/ {
	battery-divider {
		compatible = "voltage-divider";
		status = "okay";
		io-channels = <&adc 3>;
		output-ohms = <40200>;
		full-ohms = <(100000 + 40200)>;
	};

	leds {
		compatible = "gpio-leds";
		user_led0: led_0 {
			gpios = <&gpio0 4 GPIO_OPEN_SOURCE>;
		};
	};

	buttons {
		compatible = "gpio-keys";
		button0: button_0 {
			gpios = <&gpio0 11 (GPIO_PULL_UP | GPIO_ACTIVE_LOW)>;
			label = "Push button switch 0";
		};
		button1: button_1 {
			gpios = <&gpio0 18 (GPIO_PULL_UP | GPIO_ACTIVE_LOW)>;
			label = "Push button switch 1";
		};
	};

	aliases {
		sw0 = &button0;
		sw1 = &button1;
		led0 = &user_led0;
		imu0 = &imu_spi;
	};
};

&pinctrl {
	spi2_default: spi2_default {
		group1 {
			psels = <NRF_PSEL(SPIM_MISO, 0, 31)>,
				<NRF_PSEL(SPIM_MOSI, 0, 30)>,
				<NRF_PSEL(SPIM_SCK,  0, 29)>;
			bias-disable;
		};
	};

	spi2_sleep: spi2_sleep {
		group1 {
			psels = <NRF_PSEL(SPIM_MISO, 0, 31)>,
				<NRF_PSEL(SPIM_MOSI, 0, 30)>,
				<NRF_PSEL(SPIM_SCK,  0, 29)>;
			low-power-enable;
		};
	};
};

&spi2 {
	status = "okay";
	compatible = "nordic,nrf-spim";
	pinctrl-0 = <&spi2_default>;
	pinctrl-1 = <&spi2_sleep>;
	pinctrl-names = "default", "sleep";

	cs-gpios = <&gpio0 28 GPIO_ACTIVE_LOW>;

	imu_spi: imu@0 {
		compatible = "vnd,spi-device";
		reg = <0>;
		label = "imu-spi";
		spi-max-frequency = <DT_FREQ_M(24)>;
	};
};
```

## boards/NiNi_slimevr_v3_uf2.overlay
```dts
/ {
	leds {
		compatible = "gpio-leds";
		user_led0: led_0 {
			gpios = <&gpio0 4 GPIO_OPEN_SOURCE>;
		};
	};

	buttons {
		compatible = "gpio-keys";
		button0: button_0 {
			gpios = <&gpio0 11 (GPIO_PULL_UP | GPIO_ACTIVE_LOW)>;
			label = "Push button switch 0";
		};
		button1: button_1 {
			gpios = <&gpio0 18 (GPIO_PULL_UP | GPIO_ACTIVE_LOW)>;
			label = "Push button switch 1";
		};
	};

	pwmclock: pwmclock {
		compatible = "pwm-clock";
		#clock-cells = <1>;
		pwms = <&pwm1 0 PWM_HZ(32768) PWM_POLARITY_NORMAL>;
	};

	aliases {
		sw0 = &button0;
		sw1 = &button1;
		led0 = &user_led0;
		imu0 = &imu_spi;
	};
};

&pinctrl {
	spi2_default: spi2_default {
		group1 {
			psels = <NRF_PSEL(SPIM_MISO, 0, 31)>,
				<NRF_PSEL(SPIM_MOSI, 0, 30)>,
				<NRF_PSEL(SPIM_SCK,  0, 29)>;
			bias-disable;
		};
	};

	spi2_sleep: spi2_sleep {
		group1 {
			psels = <NRF_PSEL(SPIM_MISO, 0, 31)>,
				<NRF_PSEL(SPIM_MOSI, 0, 30)>,
				<NRF_PSEL(SPIM_SCK,  0, 29)>;
			low-power-enable;
		};
	};
};

&spi2 {
	status = "okay";
	compatible = "nordic,nrf-spim";
	pinctrl-0 = <&spi2_default>;
	pinctrl-1 = <&spi2_sleep>;
	pinctrl-names = "default", "sleep";

	cs-gpios = <&gpio0 28 GPIO_ACTIVE_LOW>;

	imu_spi: imu@0 {
		compatible = "vnd,spi-device";
		reg = <0>;
		label = "imu-spi";
		spi-max-frequency = <DT_FREQ_M(24)>;
	};
};
```

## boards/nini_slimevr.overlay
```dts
#include <zephyr/dt-bindings/gpio/gpio.h>
#include <zephyr/dt-bindings/pinctrl/nrf-pinctrl.h>

/ {
	battery-divider {
		compatible = "voltage-divider";
		status = "okay";
		io-channels = <&adc 3>;
		output-ohms = <40200>;
		full-ohms = <140200>;
	};

	leds {
		compatible = "gpio-leds";
		user_led0: led_0 {
			gpios = <&gpio0 4 GPIO_ACTIVE_HIGH>;
		};
	};

	buttons {
		compatible = "gpio-keys";
		button0: button_0 {
			gpios = <&gpio0 11 (GPIO_PULL_UP | GPIO_ACTIVE_LOW)>;
			label = "Push button switch 0";
		};
		button1: button_1 {
			gpios = <&gpio0 18 (GPIO_PULL_UP | GPIO_ACTIVE_LOW)>;
			label = "Push button switch 1";
		};
	};

		
	

	aliases {
		sw0 = &button0;
		sw1 = &button1;
		led0 = &user_led0;
		imu0 = &imu_spi;
	};
};

&pinctrl {
	spi3_default: spi3_default {
		group1 {
			psels = <NRF_PSEL(SPIM_MISO, 0, 29)>,
				<NRF_PSEL(SPIM_MOSI, 0, 28)>,
				<NRF_PSEL(SPIM_SCK,  0, 2)>;
			bias-disable;
		};
	};

	spi3_sleep: spi3_sleep {
		group1 {
			psels = <NRF_PSEL(SPIM_MISO, 0, 29)>,
				<NRF_PSEL(SPIM_MOSI, 0, 28)>,
				<NRF_PSEL(SPIM_SCK,  0, 2)>;
			low-power-enable;
		};
	};
};

&spi3 {
	status = "okay";
	compatible = "nordic,nrf-spim";
	pinctrl-0 = <&spi3_default>;
	pinctrl-1 = <&spi3_sleep>;
	pinctrl-names = "default", "sleep";

	cs-gpios = <&gpio0 3 GPIO_ACTIVE_LOW>;

	imu_spi: imu@0 {
		compatible = "vnd,spi-device";
		reg = <0>;
		label = "imu-spi";
		spi-max-frequency = <DT_FREQ_M(24)>;
	};
};
```

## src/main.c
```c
/*
	SlimeVR Code is placed under the MIT license
	Copyright (c) 2025 SlimeVR Contributors

	Permission is hereby granted, free of charge, to any person obtaining a copy
	of this software and associated documentation files (the "Software"), to deal
	in the Software without restriction, including without limitation the rights
	to use, copy, modify, merge, publish, distribute, sublicense, and/or sell
	copies of the Software, and to permit persons to whom the Software is
	furnished to do so, subject to the following conditions:

	The above copyright notice and this permission notice shall be included in
	all copies or substantial portions of the Software.

	THE SOFTWARE IS PROVIDED "AS IS", WITHOUT WARRANTY OF ANY KIND, EXPRESS OR
	IMPLIED, INCLUDING BUT NOT LIMITED TO THE WARRANTIES OF MERCHANTABILITY,
	FITNESS FOR A PARTICULAR PURPOSE AND NONINFRINGEMENT. IN NO EVENT SHALL THE
	AUTHORS OR COPYRIGHT HOLDERS BE LIABLE FOR ANY CLAIM, DAMAGES OR OTHER
	LIABILITY, WHETHER IN AN ACTION OF CONTRACT, TORT OR OTHERWISE, ARISING FROM,
	OUT OF OR IN CONNECTION WITH THE SOFTWARE OR THE USE OR OTHER DEALINGS IN
	THE SOFTWARE.
*/
#include "globals.h"
#include "system/system.h"
#include "system/uptime.h"
// #include "timer.h"
#include "connection/esb.h"
#include "sensor/sensor.h"

#include <zephyr/sys/reboot.h>
#include <zephyr/dt-bindings/gpio/gpio.h>
#include <hal/nrf_gpio.h>
#define ZEPHYR_USER_NODE DT_PATH(zephyr_user)
#if !DT_NODE_HAS_PROP(ZEPHYR_USER_NODE, pwr_gpios) && CONFIG_BOARD_PROMICRO_UF2
#warning "IMU power pins not defined: do not stack IMU on PROMICRO"
#endif
#if !DT_NODE_HAS_PROP(ZEPHYR_USER_NODE, gnd_gpios) && CONFIG_BOARD_PROMICRO_UF2
#warning "IMU gnd pins not defined: do not stack IMU on PROMICRO"
#endif

LOG_MODULE_REGISTER(main, LOG_LEVEL_INF);

#if DT_NODE_HAS_PROP(DT_ALIAS(sw0), gpios)
#define BUTTON_EXISTS true
#endif

#define ADAFRUIT_BOOTLOADER (CONFIG_BUILD_OUTPUT_UF2 && !CONFIG_BOOTLOADER_MCUBOOT)

#if DT_NODE_HAS_PROP(ZEPHYR_USER_NODE, pwr_gpios)
static nrf_gpio_pin_drive_t gpio_drive_from_dt_flags(uint32_t flags)
{
	if (flags & GPIO_OPEN_DRAIN) {
		return NRF_GPIO_PIN_S0D1;
	}
	if (flags & GPIO_OPEN_SOURCE) {
		return NRF_GPIO_PIN_D0S1;
	}
	return NRF_GPIO_PIN_S0S1;
}
#endif

int main(void)
{
#if DT_NODE_HAS_PROP(ZEPHYR_USER_NODE, gnd_gpios)
	uint32_t gnd_psel = NRF_DT_GPIOS_TO_PSEL(ZEPHYR_USER_NODE, gnd_gpios);
	nrf_gpio_cfg(gnd_psel, NRF_GPIO_PIN_DIR_OUTPUT, NRF_GPIO_PIN_INPUT_DISCONNECT,
		     NRF_GPIO_PIN_NOPULL, NRF_GPIO_PIN_H0D1, NRF_GPIO_PIN_NOSENSE);
	nrf_gpio_pin_clear(gnd_psel);
#endif
#if DT_NODE_HAS_PROP(ZEPHYR_USER_NODE, pwr_gpios)
	uint32_t pwr_psel = NRF_DT_GPIOS_TO_PSEL(ZEPHYR_USER_NODE, pwr_gpios);
	const uint32_t pwr_flags = DT_GPIO_FLAGS(ZEPHYR_USER_NODE, pwr_gpios);
	const bool pwr_active_low = (pwr_flags & GPIO_ACTIVE_LOW) != 0;
	nrf_gpio_cfg(pwr_psel, NRF_GPIO_PIN_DIR_OUTPUT, NRF_GPIO_PIN_INPUT_DISCONNECT,
		     NRF_GPIO_PIN_NOPULL, gpio_drive_from_dt_flags(pwr_flags),
		     NRF_GPIO_PIN_NOSENSE);
	if (pwr_active_low) {
		nrf_gpio_pin_clear(pwr_psel);
	} else {
		nrf_gpio_pin_set(pwr_psel);
	}
#endif
#if IGNORE_RESET && BUTTON_EXISTS
	bool reset_pin_reset = false;
#else
#ifdef NRF_RESET
	bool reset_pin_reset = sys_get_reset_reason() & RESET_RESETREAS_RESETPIN_Msk;
#else
	bool reset_pin_reset = sys_get_reset_reason() & POWER_RESETREAS_RESETPIN_Msk;
#endif
#endif

	set_led(SYS_LED_PATTERN_ON, SYS_LED_PRIORITY_BOOT); // Boot LED

	uint8_t reboot_counter = reboot_counter_read();
	bool booting_from_shutdown
		= !reboot_counter && (reset_pin_reset || button_read()); // 0 means from user shutdown or failed ram validation

	/* if button is not held after booting from shutdown, power off again
	 * if button press is normal, continue boot
	 * if button is held past the long-hold window, reset pairing only
	 * when multiple-press actions are not enabled
	 */

	if (button_read()) {
		while (button_read()) {
			if (system_uptime_since_boot_ms() > 1000) {
				set_led(SYS_LED_PATTERN_LONG, SYS_LED_PRIORITY_HIGHEST);
			}
			if (system_uptime_since_boot_ms() > 5000) {
#if CONFIG_USER_EXTRA_ACTIONS
				LOG_INF("Button long hold timeout, continuing boot");
#else
				LOG_INF("Pairing requested");
				esb_reset_pair();
#endif
				break;
			}
			k_msleep(1);
		}
#if USER_SHUTDOWN_ENABLED
		if (system_uptime_since_boot_ms() < 50 && booting_from_shutdown) { // debounce
			sys_request_system_off();
		}
#endif
		if (system_uptime_since_boot_ms() <= 5000) {
			set_led(SYS_LED_PATTERN_ONESHOT_POWERON, SYS_LED_PRIORITY_HIGHEST);
		} else {
			set_led(SYS_LED_PATTERN_OFF, SYS_LED_PRIORITY_HIGHEST);
		}
	} else if (booting_from_shutdown) {
		set_led(SYS_LED_PATTERN_ONESHOT_POWERON, SYS_LED_PRIORITY_BOOT);
	}

	bool docked = dock_read();

	uint8_t reset_mode = -1;

	if (reboot_counter == 0) {
		reboot_counter = 100;
	} else if (reboot_counter > 200) {
		reboot_counter = 200; // How did you get here
	}
	reset_mode = reboot_counter - 100;
	if (reset_pin_reset && !docked) // Count pin resets while not docked
	{
		reboot_counter++;
		reboot_counter_write(reboot_counter);
		LOG_INF("Reset count: %u", reboot_counter);
#if ADAFRUIT_BOOTLOADER                                                                                                \
	&& !(IGNORE_RESET && BUTTON_EXISTS)       // Using Adafruit bootloader, skip DFU if reset button is in use
	sys_skip_dfu(); // Skip DFU
#endif
		k_msleep(1000); // Wait before clearing counter and continuing
	}
	reboot_counter_write(100);
	if (!reset_pin_reset
		&& reset_mode
			   == 0) { // Only need to check once, if the button is pressed again an interrupt is triggered from before
		reset_mode = -1; // Cancel reset_mode (shutdown)
	}

#if USER_SHUTDOWN_ENABLED
	bool charging = chg_read();
	bool charged = stby_read();
	bool plugged = vin_read();

	if (reset_mode == 0 && !booting_from_shutdown && !charging && !charged
		&& !plugged) { // Reset mode user shutdown, only if unplugged and undocked
		sys_user_shutdown();
	}
#endif

	if (!booting_from_shutdown) { // ONESHOT_POWERON automatically sets LED off
		k_usleep(60);
		set_led(SYS_LED_PATTERN_OFF, SYS_LED_PRIORITY_BOOT);
	}

	sys_reset_mode(reset_mode);

	return 0;
}
```

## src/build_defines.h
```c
/*
	SlimeVR Code is placed under the MIT license
	Copyright (c) 2025 SlimeVR Contributors

	Permission is hereby granted, free of charge, to any person obtaining a copy
	of this software and associated documentation files (the "Software"), to deal
	in the Software without restriction, including without limitation the rights
	to use, copy, modify, merge, publish, distribute, sublicense, and/or sell
	copies of the Software, and to permit persons to whom the Software is
	furnished to do so, subject to the following conditions:

	The above copyright notice and this permission notice shall be included in
	all copies or substantial portions of the Software.

	THE SOFTWARE IS PROVIDED "AS IS", WITHOUT WARRANTY OF ANY KIND, EXPRESS OR
	IMPLIED, INCLUDING BUT NOT LIMITED TO THE WARRANTIES OF MERCHANTABILITY,
	FITNESS FOR A PARTICULAR PURPOSE AND NONINFRINGEMENT. IN NO EVENT SHALL THE
	AUTHORS OR COPYRIGHT HOLDERS BE LIABLE FOR ANY CLAIM, DAMAGES OR OTHER
	LIABILITY, WHETHER IN AN ACTION OF CONTRACT, TORT OR OTHERWISE, ARISING FROM,
	OUT OF OR IN CONNECTION WITH THE SOFTWARE OR THE USE OR OTHER DEALINGS IN
	THE SOFTWARE.
*/
#include "sensor/sensors_enum.h"
#include "system/status.h"

#include "app_version.h"

#ifdef CONFIG_NCS_APPLICATION_BOOT_BANNER_STRING
#define FW_NAME CONFIG_NCS_APPLICATION_BOOT_BANNER_STRING
#else
#define FW_NAME "SlimeNRF Tracker"
#endif
#define FW_VERSION_MAJOR APP_VERSION_MAJOR
#define FW_VERSION_MINOR APP_VERSION_MINOR
#define FW_VERSION_PATCH APP_PATCHLEVEL

// Build-time VCS metadata (injected by CMake). Keep safe fallbacks for non-git builds.
#ifndef FW_GIT_REPO_URL
#define FW_GIT_REPO_URL "unknown"
#endif
#ifndef FW_GIT_BRANCH
#define FW_GIT_BRANCH "unknown"
#endif
#ifndef FW_GIT_AUTHOR
#define FW_GIT_AUTHOR "unknown"
#endif

static uint8_t get_server_constant_imu_id(int id) __attribute__((unused));
static uint8_t get_server_constant_mag_id(int id) __attribute__((unused));
static uint8_t get_server_constant_tracker_status(int status) __attribute__((unused));

// constants from server, should include BoardType, MCUType, IMUType, MagType (not yet)
// https://github.com/SlimeVR/SlimeVR-Server/blob/main/server/core/src/main/java/dev/slimevr/tracking/trackers/udp/FirmwareConstants.kt
#define SVR_IMU_UNKNOWN 0
#define SVR_IMU_MPU9250 1
#define SVR_IMU_MPU6500 2
#define SVR_IMU_BNO080 3
#define SVR_IMU_BNO085 4
#define SVR_IMU_BNO055 5
#define SVR_IMU_MPU6050 6
#define SVR_IMU_BNO086 7
#define SVR_IMU_BMI160 8
#define SVR_IMU_ICM20948 9
#define SVR_IMU_ICM42688 10
#define SVR_IMU_BMI270 11
#define SVR_IMU_LSM6DS3TRC 12
#define SVR_IMU_LSM6DSV 13
#define SVR_IMU_LSM6DSO 14
#define SVR_IMU_LSM6DSR 15
#define SVR_IMU_ICM45686 16
#define SVR_IMU_ICM45605 17
#define SVR_IMU_ADC_RESISTANCE 18
#define SVR_IMU_IIM42652 19
#define SVR_IMU_ICM42686P 20
#define SVR_IMU_DEV_RESERVED 250

#define SVR_BOARD_UNKNOWN 0
#define SVR_BOARD_SLIMEVR_LEGACY 1
#define SVR_BOARD_SLIMEVR_DEV 2
#define SVR_BOARD_NODEMCU 3
#define SVR_BOARD_CUSTOM 4
#define SVR_BOARD_WROOM32 5
#define SVR_BOARD_WEMOSD1MINI 6
#define SVR_BOARD_TTGO_TBASE 7
#define SVR_BOARD_ESP01 8
#define SVR_BOARD_SLIMEVR 9
#define SVR_BOARD_LOLIN_C3_MINI 10
#define SVR_BOARD_BEETLE32C32 11
#define SVR_BOARD_ES32C3DEVKITM1 12
#define SVR_BOARD_OWOTRACK 13
#define SVR_BOARD_WRANGLER 14
#define SVR_BOARD_MOCOPI 15
#define SVR_BOARD_WEMOSWROOM02 16
#define SVR_BOARD_XIAO_ESP32C3 17
#define SVR_BOARD_HARITORA 18
#define SVR_BOARD_ESP32C6DEVKITC1 19
#define SVR_BOARD_GLOVE_IMU_SLIMEVR_DEV 20
#define SVR_BOARD_GESTURES 21
#define SVR_BOARD_SLIMEVR_V1_2 22
#define SVR_BOARD_ESP32S3_SUPERMINI 23
#define SVR_BOARD_GENERIC_NRF 24
#define SVR_BOARD_SLIMEVR_BUTTERFLY_DEV 25
#define SVR_BOARD_SLIMEVR_BUTTERFLY 26
#define SVR_BOARD_DEV_RESERVED 250

#define SVR_MCU_UNKNOWN 0
#define SVR_MCU_ESP8266 1
#define SVR_MCU_ESP32 2
#define SVR_MCU_OWOTRACK_ANDROID 3
#define SVR_MCU_WRANGLER 4
#define SVR_MCU_OWOTRACK_IOS 5
#define SVR_MCU_ESP32_C3 6
#define SVR_MCU_MOCOPI 7
#define SVR_MCU_HARITORA 8
#define SVR_MCU_NRF52 9
#define SVR_MCU_NRF54L 10
#define SVR_MCU_DEV_RESERVED 250

#define SVR_MAG_STATUS_NOT_SUPPORTED 0
#define SVR_MAG_STATUS_DISABLED 1
#define SVR_MAG_STATUS_ENABLED 2

// https://github.com/SlimeVR/SlimeVR-Server/blob/main/server/core/src/main/java/dev/slimevr/tracking/trackers/TrackerStatus.kt
#define SVR_STATUS_DISCONNECTED 0
#define SVR_STATUS_OK 1
#define SVR_STATUS_BUSY 2
#define SVR_STATUS_ERROR 3
#define SVR_STATUS_OCCLUDED 4
#define SVR_STATUS_TIMED_OUT 5

#if CONFIG_BOARD_SLIMEVRMINI_P1_UF2 || CONFIG_BOARD_SLIMEVRMINI_P2_UF2 \
	|| CONFIG_BOARD_SLIMEVRMINI_P3R6_UF2 || CONFIG_BOARD_SLIMEVRMINI_P3R7_UF2 \
	|| CONFIG_BOARD_SLIMEVRMINI_P4_UF2 || CONFIG_BOARD_SLIMEVRMINI_P4R9_UF2
#define FW_BOARD SVR_BOARD_SLIMEVR_BUTTERFLY_DEV
#else
#define FW_BOARD SVR_BOARD_GENERIC_NRF
#endif

/* NCS 3.3 renamed series Kconfig (NRF52X/NRF54LX deprecated). Keep both. */
#if CONFIG_SOC_SERIES_NRF52X || CONFIG_SOC_SERIES_NRF52
#define FW_MCU SVR_MCU_NRF52
#elif CONFIG_SOC_SERIES_NRF54LX || CONFIG_SOC_SERIES_NRF54L
#define FW_MCU SVR_MCU_NRF54L
#else
#define FW_MCU 0
#endif

static uint8_t get_server_constant_imu_id(int id)
{
	switch (id)
	{
	case IMU_BMI160:
		return SVR_IMU_BMI160;
	case IMU_BMI270:
		return SVR_IMU_BMI270;
	case IMU_BMI323:
		return 0;
	case IMU_MPU6050:
		return SVR_IMU_MPU6050;
	case IMU_MPU6500:
		return SVR_IMU_MPU6500;
	case IMU_MPU9250:
		return SVR_IMU_MPU9250;
	case IMU_ICM20948:
		return SVR_IMU_ICM20948;
	case IMU_ICM42688:
		return SVR_IMU_ICM42688;
	case IMU_ICM42686:
		// currently just report as 42688 since it's close enough and doesn't have a server constant yet
		// todo: add a proper constant for it in the server and update this
		return SVR_IMU_ICM42688;
	case IMU_ICM45686:
		return SVR_IMU_ICM45686;
	case IMU_ICM45688:
		return SVR_IMU_ICM45686; // compatible with driver, but not really
	case IMU_ISM330IS:
		return 0;
	case IMU_LSM6DS3:
		return 0;
	case IMU_LSM6DSM:
		return SVR_IMU_LSM6DS3TRC;
	case IMU_LSM6DSR:
		return SVR_IMU_LSM6DSR;
	case IMU_LSM6DSO:
		return SVR_IMU_LSM6DSO;
	case IMU_LSM6DST:
		return 0;
	case IMU_LSM6DSV:
		return SVR_IMU_LSM6DSV;
	case IMU_ISM330BX:
		return SVR_IMU_LSM6DSV; // not really
	default:
		return SVR_IMU_UNKNOWN;
	}
}

// does not exist in server enums yet
extern bool sensor_get_mag_enabled(void);
static uint8_t get_server_constant_mag_id(int id)
{
	if (id < 0)
		return SVR_MAG_STATUS_NOT_SUPPORTED;
	else
		return sensor_get_mag_enabled() ? SVR_MAG_STATUS_ENABLED : SVR_MAG_STATUS_DISABLED;
//	switch (id)
//	{
//	case MAG_HMC5883L:
//		return 0;
//	case MAG_QMC5883L:
//		return 0;
//	case MAG_AK8963:
//		return 0;
//	case MAG_AK09916:
//		return 0;
//	case MAG_AK09940:
//		return 0;
//	case MAG_BMM150:
//		return 0;
//	case MAG_BMM350:
//		return 0;
//	case MAG_IST8306:
//		return 0;
//	case MAG_IST8308:
//		return 0;
//	case MAG_IST8320:
//		return 0;
//	case MAG_IST8321:
//		return 0;
//	case MAG_LIS2MDL:
//		return 0;
//	case MAG_LIS3MDL:
//		return 0;
//	case MAG_MMC34160PJ:
//		return 0;
//	case MAG_MMC3630KJ:
//		return 0;
//	case MAG_MMC5633NJL:
//		return 0;
//	case MAG_MMC5616WA:
//		return 0;
//	case MAG_MMC5983MA:
//		return 0;
//	default:
//		return 0;
//	}
}

static uint8_t get_server_constant_tracker_status(int status)
{
	if (status & (SYS_STATUS_SENSOR_ERROR | SYS_STATUS_SYSTEM_ERROR))
		return SVR_STATUS_ERROR;
	else
		return SVR_STATUS_OK;
}

// https://stackoverflow.com/questions/11697820/how-to-use-date-and-time-predefined-macros-in-as-two-integers-then-stri
#define COMPUTE_BUILD_YEAR \
	( \
		(__DATE__[ 7] - '0') * 1000 + \
		(__DATE__[ 8] - '0') *  100 + \
		(__DATE__[ 9] - '0') *   10 + \
		(__DATE__[10] - '0') \
	)

#define COMPUTE_BUILD_DAY \
	( \
		((__DATE__[4] >= '0') ? (__DATE__[4] - '0') * 10 : 0) + \
		(__DATE__[5] - '0') \
	)

#define BUILD_MONTH_IS_JAN (__DATE__[0] == 'J' && __DATE__[1] == 'a' && __DATE__[2] == 'n')
#define BUILD_MONTH_IS_FEB (__DATE__[0] == 'F')
#define BUILD_MONTH_IS_MAR (__DATE__[0] == 'M' && __DATE__[1] == 'a' && __DATE__[2] == 'r')
#define BUILD_MONTH_IS_APR (__DATE__[0] == 'A' && __DATE__[1] == 'p')
#define BUILD_MONTH_IS_MAY (__DATE__[0] == 'M' && __DATE__[1] == 'a' && __DATE__[2] == 'y')
#define BUILD_MONTH_IS_JUN (__DATE__[0] == 'J' && __DATE__[1] == 'u' && __DATE__[2] == 'n')
#define BUILD_MONTH_IS_JUL (__DATE__[0] == 'J' && __DATE__[1] == 'u' && __DATE__[2] == 'l')
#define BUILD_MONTH_IS_AUG (__DATE__[0] == 'A' && __DATE__[1] == 'u')
#define BUILD_MONTH_IS_SEP (__DATE__[0] == 'S')
#define BUILD_MONTH_IS_OCT (__DATE__[0] == 'O')
#define BUILD_MONTH_IS_NOV (__DATE__[0] == 'N')
#define BUILD_MONTH_IS_DEC (__DATE__[0] == 'D')

#define COMPUTE_BUILD_MONTH \
	( \
		(BUILD_MONTH_IS_JAN) ?  1 : \
		(BUILD_MONTH_IS_FEB) ?  2 : \
		(BUILD_MONTH_IS_MAR) ?  3 : \
		(BUILD_MONTH_IS_APR) ?  4 : \
		(BUILD_MONTH_IS_MAY) ?  5 : \
		(BUILD_MONTH_IS_JUN) ?  6 : \
		(BUILD_MONTH_IS_JUL) ?  7 : \
		(BUILD_MONTH_IS_AUG) ?  8 : \
		(BUILD_MONTH_IS_SEP) ?  9 : \
		(BUILD_MONTH_IS_OCT) ? 10 : \
		(BUILD_MONTH_IS_NOV) ? 11 : \
		(BUILD_MONTH_IS_DEC) ? 12 : \
		/* error default */  99 \
	)

#define COMPUTE_BUILD_HOUR ((__TIME__[0] - '0') * 10 + __TIME__[1] - '0')
#define COMPUTE_BUILD_MIN  ((__TIME__[3] - '0') * 10 + __TIME__[4] - '0')
#define COMPUTE_BUILD_SEC  ((__TIME__[6] - '0') * 10 + __TIME__[7] - '0')

#define BUILD_DATE_IS_BAD (__DATE__[0] == '?')

#define BUILD_YEAR  ((BUILD_DATE_IS_BAD) ? 99 : COMPUTE_BUILD_YEAR)
#define BUILD_MONTH ((BUILD_DATE_IS_BAD) ? 99 : COMPUTE_BUILD_MONTH)
#define BUILD_DAY   ((BUILD_DATE_IS_BAD) ? 99 : COMPUTE_BUILD_DAY)

#define BUILD_TIME_IS_BAD (__TIME__[0] == '?')

#define BUILD_HOUR  ((BUILD_TIME_IS_BAD) ? 99 :  COMPUTE_BUILD_HOUR)
#define BUILD_MIN   ((BUILD_TIME_IS_BAD) ? 99 :  COMPUTE_BUILD_MIN)
#define BUILD_SEC   ((BUILD_TIME_IS_BAD) ? 99 :  COMPUTE_BUILD_SEC)

#define BUILD_TIMESTAMP (((((((BUILD_YEAR - 2020) & 127) * 12 + (BUILD_MONTH & 15)) * 31 + (BUILD_DAY & 31)) * 24 + (BUILD_HOUR & 24)) * 60 + (BUILD_MIN & 60)) * 60 + (BUILD_SEC & 60))

#define TOSTRING(x) STRINGIFY(x)

#define FW_STRING FW_NAME " " APP_VERSION_EXTENDED_STRING " "\
	"(Commit " TOSTRING(APP_BUILD_VERSION) ", Build %d-%02d-%02d %02d:%02d:%02d)\n",\
	BUILD_YEAR, BUILD_MONTH, BUILD_DAY, BUILD_HOUR, BUILD_MIN, BUILD_SEC
```

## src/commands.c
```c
#include "commands.h"

/*
 * 这里面直接粘贴你 console.c 里的实现：
 * void cmd_sens_set(...)
 * void cmd_sens_reset(...)
 * void cmd_reset_zro(...)
 * void cmd_reset_acc(...)
 * void cmd_reset_bat(...)
 * void cmd_reset_tcal(...)
 * void cmd_ping_start(...)
 *
 * 重点：实现代码不要改，只是搬家。
 */

/* === PASTE FROM console.c START === */
// void cmd_sens_set(float x, float y, float z) { ... }
// void cmd_sens_reset(void) { ... }
// ...
/* === PASTE FROM console.c END === */
```

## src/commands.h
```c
#pragma once

#ifdef __cplusplus
extern "C" {
#endif

void cmd_sens_set(float x, float y, float z);
void cmd_sens_reset(void);

void cmd_reset_zro(void);
void cmd_reset_acc(void);
void cmd_reset_bat(void);
void cmd_reset_tcal(void);

void cmd_ping_start(void);

#ifdef __cplusplus
}
#endif
```

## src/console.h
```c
#ifndef SLIMENRF_CONSOLE
#define SLIMENRF_CONSOLE

#include <stdint.h>

#if CONFIG_USE_SLIMENRF_CONSOLE
int console_serial_start(void);
void console_serial_stop(void);
#else
static inline int console_serial_start(void)
{
	return 0;
}

static inline void console_serial_stop(void)
{
}
#endif

// Command API for remote execution
void cmd_sens_set(float x, float y, float z);
void cmd_sens_auto(const char *axis_str, const char *rev_str);
void cmd_sens_auto_request(uint8_t axis, uint16_t revolutions);
void cmd_sens_reset(void);
void cmd_reset_zro(void);
void cmd_reset_acc(void);
void cmd_reset_bat(void);
void cmd_reset_tcal(void);
void cmd_fusion_reset(void);
void cmd_ping_start(void);
void cmd_shutdown(void);

#endif
```
